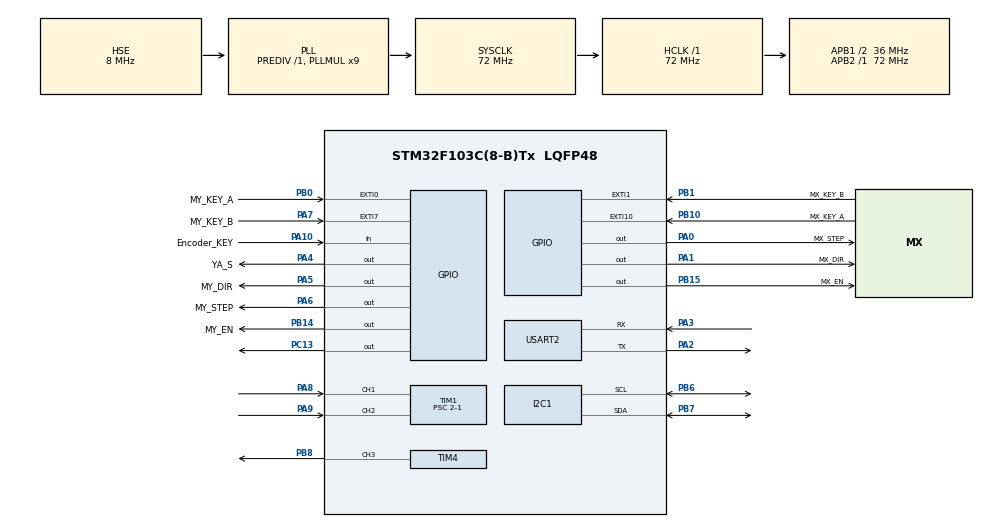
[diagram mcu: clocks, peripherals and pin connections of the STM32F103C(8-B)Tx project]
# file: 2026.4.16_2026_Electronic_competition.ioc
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Mcu.Family=STM32F1
Mcu.Name=STM32F103C(8-B)Tx
Mcu.Package=LQFP48
NVIC.EXTI0_IRQn=true\:0\:0\:false\:false\:true\:true\:true\:true
NVIC.EXTI15_10_IRQn=true\:0\:0\:false\:false\:true\:true\:true\:true
NVIC.EXTI1_IRQn=true\:0\:0\:false\:false\:true\:true\:true\:true
NVIC.EXTI9_5_IRQn=true\:0\:0\:false\:false\:true\:true\:true\:true
NVIC.PriorityGroup=NVIC_PRIORITYGROUP_4
NVIC.TIM2_IRQn=true\:0\:0\:false\:false\:true\:true\:true\:true
NVIC.TIM3_IRQn=true\:0\:0\:false\:false\:true\:true\:true\:true
NVIC.TIM4_IRQn=true\:0\:0\:false\:false\:true\:true\:true\:true
NVIC.USART2_IRQn=true\:0\:0\:false\:false\:true\:true\:true\:true
PA0-WKUP.GPIO_Label=MX_STEP
PA0-WKUP.Signal=GPIO_Output
PA1.GPIO_Label=MX_DIR
PA1.Signal=GPIO_Output
PA10.GPIO_Label=Encoder_KEY
PA10.Signal=GPIO_Input
PA13.Mode=Serial_Wire
PA13.Signal=SYS_JTMS-SWDIO
PA14.Mode=Serial_Wire
PA14.Signal=SYS_JTCK-SWCLK
PA2.Mode=Asynchronous
PA2.Signal=USART2_TX
PA3.Mode=Asynchronous
PA3.Signal=USART2_RX
PA4.GPIO_Label=YA_S
PA4.Signal=GPIO_Output
PA5.GPIO_Label=MY_DIR
PA5.Signal=GPIO_Output
PA6.GPIO_Label=MY_STEP
PA6.Signal=GPIO_Output
PA7.GPIO_Label=MY_KEY_B
PA7.GPIO_ModeDefaultEXTI=GPIO_MODE_IT_FALLING
PA7.GPIO_PuPd=GPIO_PULLUP
PA7.Signal=GPXTI7
PA8.Signal=S_TIM1_CH1
PA9.Signal=S_TIM1_CH2
PB0.GPIO_Label=MY_KEY_A
PB0.GPIO_ModeDefaultEXTI=GPIO_MODE_IT_FALLING
PB0.GPIO_PuPd=GPIO_PULLUP
PB0.Signal=GPXTI0
PB1.GPIO_Label=MX_KEY_B
PB1.GPIO_ModeDefaultEXTI=GPIO_MODE_IT_FALLING
PB1.GPIO_PuPd=GPIO_PULLUP
PB1.Signal=GPXTI1
PB10.GPIO_Label=MX_KEY_A
PB10.GPIO_ModeDefaultEXTI=GPIO_MODE_IT_FALLING
PB10.GPIO_PuPd=GPIO_PULLUP
PB10.Signal=GPXTI10
PB14.GPIO_Label=MY_EN
PB14.Signal=GPIO_Output
PB15.GPIO_Label=MX_EN
PB15.Signal=GPIO_Output
PB6.Mode=I2C
PB6.Signal=I2C1_SCL
PB7.Mode=I2C
PB7.Signal=I2C1_SDA
PB8.Signal=S_TIM4_CH3
PC13-TAMPER-RTC.Signal=GPIO_Output
PD0-OSC_IN.Mode=HSE-External-Oscillator
PD0-OSC_IN.Signal=RCC_OSC_IN
PD1-OSC_OUT.Mode=HSE-External-Oscillator
PD1-OSC_OUT.Signal=RCC_OSC_OUT
ProjectManager.HeapSize=0x200
ProjectManager.StackSize=0x400
ProjectManager.TargetToolchain=CMake
RCC.AHBFreq_Value=72000000
RCC.APB1CLKDivider=RCC_HCLK_DIV2
RCC.APB1Freq_Value=36000000
RCC.APB1TimFreq_Value=72000000
RCC.APB2Freq_Value=72000000
RCC.APB2TimFreq_Value=72000000
RCC.HCLKFreq_Value=72000000
RCC.PLLMUL=RCC_PLL_MUL9
RCC.PLLSourceVirtual=RCC_PLLSOURCE_HSE
RCC.SYSCLKFreq_VALUE=72000000
RCC.SYSCLKSource=RCC_SYSCLKSOURCE_PLLCLK
RCC.USBFreq_Value=72000000
SH.S_TIM1_CH1.0=TIM1_CH1,Encoder_Interface
SH.S_TIM1_CH2.0=TIM1_CH2,Encoder_Interface
SH.S_TIM4_CH3.0=TIM4_CH3,PWM Generation3 CH3
TIM1.Prescaler=2-1
TIM2.TIM_MasterOutputTrigger=TIM_TRGO_UPDATE
TIM2.TIM_MasterSlaveMode=TIM_MASTERSLAVEMODE_ENABLE
TIM3.TIM_MasterOutputTrigger=TIM_TRGO_UPDATE
TIM3.TIM_MasterSlaveMode=TIM_MASTERSLAVEMODE_ENABLE
TIM4.Channel-PWM\ Generation3\ CH3=TIM_CHANNEL_3
USART2.VirtualMode=VM_ASYNC
VP_TIM2_VS_ClockSourceINT.Mode=Internal
VP_TIM3_VS_ClockSourceINT.Mode=Internal
VP_TIM4_VS_ClockSourceINT.Mode=Internal
board=custom

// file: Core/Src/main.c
/* USER CODE BEGIN Header */
/**
  ******************************************************************************
  * @file           : main.c
  * @brief          : Main program body
  ******************************************************************************
  * @attention
  *
  * Copyright (c) 2026 STMicroelectronics.
  * All rights reserved.
  *
  * This software is licensed under terms that can be found in the LICENSE file
  * in the root directory of this software component.
  * If no LICENSE file comes with this software, it is provided AS-IS.
  *
  ******************************************************************************
  */
/* USER CODE END Header */
#include "main.h"
#include "i2c.h"
#include "tim.h"
#include "usart.h"
#include "gpio.h"

/* USER CODE BEGIN Includes */
#include "oled.h"
#include <stdio.h>
#include <stdbool.h>
#include "board_map.h"
/* USER CODE END Includes */

/* USER CODE BEGIN PV */
uint32_t Encoder_i = 0;  // 编码器计数
uint32_t PWM_F = 0;  // PWM频率
bool PWM_E = 1;  // PWM使能 默认为1，不要修改
bool motor_direction = 0;  // 电机方向：0=正转，1=反转
volatile uint8_t direction_toggle_flag = 0;  // 方向切换标志位

volatile bool X_limit_left__flag = 0;  // X轴左限位标志位
volatile bool X_limit_right__flag = 0;  // X轴右限位标志位
volatile bool Y_limit_left__flag = 0;  // Y轴左限位标志位
volatile bool Y_limit_right__flag = 0;  // Y轴右限位标志位

volatile uint32_t X_tim2_tick_count = 0;  // X轴步数值(TIM2中断计数)
volatile uint32_t Y_tim2_tick_count = 0;  // Y轴步数值(TIM2中断计数)
volatile uint32_t X_target_tick_count = 0;  // 目标X轴步数值
volatile uint32_t Y_target_tick_count = 0;  // 目标Y轴步数值
volatile bool X_tim2_count_enable = 0;  // X轴计数使能
volatile bool Y_tim2_count_enable = 0;  // Y轴计数使能

volatile uint32_t X_tim2_tick_count_old = 0;  // X轴步数值最大的旧值
volatile uint32_t Y_tim2_tick_count_old = 0;  // Y轴步数值最大的旧值

bool Motor_action_flag = 0;  // 电机行动标志位
bool Motor_STEP_flag_X = 0;  // X轴电机步进标志位
bool Motor_STEP_flag_Y = 0;  // Y轴电机步进标志位

volatile uint32_t X_left_last_irq_ms = 0;   // X左限位上次中断时间
volatile uint32_t X_right_last_irq_ms = 0;  // X右限位上次中断时间
volatile uint32_t Y_left_last_irq_ms = 0;   // Y左限位上次中断时间
volatile uint32_t Y_right_last_irq_ms = 0;  // Y右限位上次中断时间

#define LIMIT_DEBOUNCE_MS 20U  // 限位开关软件消抖时间

#define X_tim2_tick_count_max 6452  // X轴计数最大值
#define Y_tim2_tick_count_max 9931  // Y轴计数最大值

#define SERVO_PULSE_MIN_US 500U    // 舵机最小控制脉宽(0.5ms, 对应最小角度端)
#define SERVO_PULSE_MAX_US 2500U   // 舵机最大控制脉宽(2.5ms, 对应最大角度端)
#define SERVO_PULSE_INIT_US 1500U  // 舵机上电初始脉宽(1.5ms, 通常对应中位角度)
#define SERVO_PICK_PLACE_ANGLE_DEG 172U  // 自动下棋时取放棋子的下探角度
volatile int16_t Servo_angle_deg = 90;  // 舵机角度(0~180度)，用于显示

#define K230_CENTER_X 134  // K230坐标系中心棋格X坐标
#define K230_CENTER_Y 76   // K230坐标系中心棋格Y坐标
#define K230_GRID_DELTA 25 // K230坐标系相邻棋格坐标差
#define STEP_GRID_DELTA 1130 // 我方步进坐标系相邻棋格步数差
#define TASK3_X_MIN_STEP 1362 // 题目三允许的最小X步进坐标
#define TASK3_X_MAX_STEP 6122 // 题目三允许的最大X步进坐标
#define TASK3_Y_MIN_STEP 2751 // 题目三允许的最小Y步进坐标
#define TASK3_Y_MAX_STEP 9299 // 题目三允许的最大Y步进坐标

bool X_Motor_direction = 0;  // X轴电机方向：0=正转，1=反转
bool Y_Motor_direction = 0;  // Y轴电机方向：0=正转，1=反转

volatile uint8_t MODS = 0;  // 模式 0调整模式 1X轴设置 2Y轴设置 3舵机调节 4自动下棋
volatile uint8_t MODS_old = 0;  // 模式旧值
#define MODS_MAX 4 // 模式最大值，循环使用

uint8_t rx_buf[1];
char uart_rx_buffer[64];
uint8_t uart_rx_idx = 0;
volatile uint8_t uart_task = 0;
volatile uint8_t uart_coord1 = 0;
volatile uint8_t uart_coord2 = 0;
volatile int16_t uart_cam_x = 0;
volatile int16_t uart_cam_y = 0;
volatile bool uart_data_ready = 0;

/* USER CODE END PV */

void SystemClock_Config(void);

/* USER CODE BEGIN PFP */
void X_Motor_test_while(void);// X轴, Y轴电机测试循环
void Motor_Direction(void);  // 根据限位标志位切换电机方向
void Servo_Control(void);// 舵机控制函数(编码器 -> TIM4_CH3 PWM占空比)
void Motor_MoveToStep(int motor_id,uint32_t step);//电机步数控制
void Mode1_X_ByEncoder(void);// 模式1: 编码器控制X轴步进
void Mode2_Y_ByEncoder(void);// 模式2: 编码器控制Y轴步进
void Mode3_ServoToggleAndBack(void);// 模式3: 编码器直接控制舵机
void Mode4_AutoChess(void); // 模式4: 串口接收任务自动下棋
void CameraCoord_ToStep(int16_t cam_x, int16_t cam_y, int32_t *x_step, int32_t *y_step); // K230坐标转步进坐标
//void ToggleMotorDirection(void);// 切换电机方向
/* USER CODE END PFP */

/* USER CODE BEGIN 0 */

//OLED显示
void oled_while(void)
{
  //Encoder_i = __HAL_TIM_GET_COUNTER(&htim1);  // 读取编码器计数

  char buffer[20];
  char buffer_2[20];
  char buffer_3[20];
  char buffer_4[20];
  char buffer_5[20];
  //char buffer_6[20];

  if(MODS == 0) //调整模式
  {
    Servo_Control();  // 编码器控制舵机
    snprintf(buffer, sizeof(buffer), "Xcount:%lu", X_tim2_tick_count);
    snprintf(buffer_2, sizeof(buffer_2), "Ycount:%lu", Y_tim2_tick_count);
    snprintf(buffer_3, sizeof(buffer_3), "servo:%d deg", (int)Servo_angle_deg);
    snprintf(buffer_4, sizeof(buffer_4), "X_MAX:%lu",X_tim2_tick_count_old);
    snprintf(buffer_5, sizeof(buffer_5), "Y_MAX:%lu",Y_tim2_tick_count_old);

    OLED_NewFrame();
    OLED_PrintASCIIString(1,1,buffer,&afont8x6, OLED_COLOR_NORMAL);
    OLED_PrintASCIIString(1,11,buffer_2,&afont8x6, OLED_COLOR_NORMAL);
    OLED_PrintASCIIString(1,21,buffer_3,&afont8x6, OLED_COLOR_NORMAL);
    OLED_PrintASCIIString(1,31,buffer_4,&afont8x6, OLED_COLOR_NORMAL);
    OLED_PrintASCIIString(1,41,buffer_5,&afont8x6, OLED_COLOR_NORMAL);
  }
  else if(MODS == 1 || MODS == 2 || MODS == 4)
  {
    snprintf(buffer, sizeof(buffer), "Xcount:%lu", X_tim2_tick_count);
    snprintf(buffer_2, sizeof(buffer_2), "Ycount:%lu",Y_tim2_tick_count);

    OLED_NewFrame();
    OLED_PrintASCIIString(1,1,buffer,&afont8x6, OLED_COLOR_NORMAL);
    OLED_PrintASCIIString(1,11,buffer_2,&afont8x6, OLED_COLOR_NORMAL);
  }
  else if(MODS == 3)
  {
    snprintf(buffer, sizeof(buffer), "servo:%d deg", (int)Servo_angle_deg);

    OLED_NewFrame();
    OLED_PrintASCIIString(1,1,buffer,&afont8x6, OLED_COLOR_NORMAL);
  }
  snprintf(buffer_4, sizeof(buffer_4), "MODS:%d", MODS);
  OLED_PrintASCIIString(1,55,buffer_4,&afont8x6, OLED_COLOR_NORMAL);
  OLED_ShowFrame();

  //HAL_Delay(25);
}

// GPIO外部部中断
void HAL_GPIO_EXTI_Callback(uint16_t GPIO_Pin)
{
  uint32_t now_ms = HAL_GetTick();

	if(GPIO_Pin == MX_KEY_A_Pin)  // X轴左限位: PB10
  {
    if ((now_ms - X_left_last_irq_ms) < LIMIT_DEBOUNCE_MS) return;
    X_left_last_irq_ms = now_ms;

    X_limit_left__flag = 1;// 设置X轴左限位触碰标志位

    if(MODS == 0) X_tim2_tick_count = 0;  //调整模式 X左限位触发后清零计数
    if(MODS == 1) X_tim2_tick_count = 0;  // X左限位触发后清零计数
  }
  else if(GPIO_Pin == MX_KEY_B_Pin)  // X轴右限位: PB1
  {
    if ((now_ms - X_right_last_irq_ms) < LIMIT_DEBOUNCE_MS) return;
    X_right_last_irq_ms = now_ms;

    X_limit_right__flag = 1;// 设置X轴右限位触碰标志位

    if(MODS == 0)
    {
      X_tim2_tick_count_old = X_tim2_tick_count;// 保存旧值
      //X_tim2_count_enable = 1;  // X右限位触发后开始计数
    }
    //if(MODS == 1) X_tim2_tick_count = X_tim2_tick_count_max;  // X右限位触发后最大计数
  }

  else if(GPIO_Pin == MY_KEY_A_Pin)  // Y轴左限位: PB0
  {
    if ((now_ms - Y_left_last_irq_ms) < LIMIT_DEBOUNCE_MS) return;
    Y_left_last_irq_ms = now_ms;

    Y_limit_left__flag = 1;// 设置Y轴左限位触碰标志位

    if(MODS == 0) Y_tim2_tick_count = 0;  // Y左限位触发后清零计数
    if(MODS == 1) Y_tim2_tick_count = 0;  // Y左限位触发后清零计数
  }
  else if(GPIO_Pin == MY_KEY_B_Pin)  // Y轴右限位: PA7
  {
    if ((now_ms - Y_right_last_irq_ms) < LIMIT_DEBOUNCE_MS) return;
    Y_right_last_irq_ms = now_ms;

    Y_limit_right__flag = 1;// 设置Y轴右限位触碰标志位

    if(MODS == 0)
    {
      Y_tim2_tick_count_old = Y_tim2_tick_count;// 保存旧值
      //Y_tim2_count_enable = 1;  // Y右限位触发后开始计数
    }
    //if(MODS == 1) Y_tim2_tick_count = Y_tim2_tick_count_max;  // Y右限位触发后最大计数
  }
  if(MODS == 0)
  {
    X_Motor_test_while();// X轴, Y轴电机测试循环
    Motor_Direction();  // 根据限位标志位切换电机方向
  }
  else if(MODS == 1)
  {

  }
}

// 根据全局变量切换电机方向
void Motor_Direction(void)
{
  if(X_Motor_direction == 0)
  {
    HAL_GPIO_WritePin(MX_DIR_GPIO_Port, MX_DIR_Pin, GPIO_PIN_SET);
  }
  else
  {
    HAL_GPIO_WritePin(MX_DIR_GPIO_Port, MX_DIR_Pin, GPIO_PIN_RESET);
  }

  if(Y_Motor_direction == 0)
  {
    HAL_GPIO_WritePin(MY_DIR_GPIO_Port, MY_DIR_Pin, GPIO_PIN_RESET);
  }
  else
  {
    HAL_GPIO_WritePin(MY_DIR_GPIO_Port, MY_DIR_Pin, GPIO_PIN_SET);
  }
}

// 电机初始化
void Motor_init(void)
{
  HAL_GPIO_WritePin(MX_EN_GPIO_Port, MX_EN_Pin, GPIO_PIN_RESET);  // X轴电机
  HAL_GPIO_WritePin(MY_EN_GPIO_Port, MY_EN_Pin, GPIO_PIN_RESET);  // Y轴电机

  X_Motor_direction = 1;// X轴电机方向：0=正转，1=反转
  Y_Motor_direction = 1;// Y轴电机方向：0=正转，1=反转
}

//定时器中断回调函数
void HAL_TIM_PeriodElapsedCallback(TIM_HandleTypeDef *htim)
{
  if(MODS == 0)//调整模式
  {
      if (htim->Instance == TIM2)
    {
      if (X_Motor_direction == 0)// 正方向计数增加，反方向计数减少
      {
        X_tim2_tick_count++;
      }
      else
      {
        if (X_tim2_tick_count > 0) X_tim2_tick_count--;
      }
      if (Y_Motor_direction == 0)// 正方向计数增加，反方向计数减少
      {
        Y_tim2_tick_count++;
      }
      else
      {
        if (Y_tim2_tick_count > 0) Y_tim2_tick_count--;
      }
      HAL_GPIO_WritePin(GPIOA, MX_STEP_Pin | MY_STEP_Pin, GPIO_PIN_SET);
      __HAL_TIM_SET_COUNTER(&htim3, 0);
      HAL_TIM_Base_Start_IT(&htim3);
    }
    else if (htim->Instance == TIM3)
    {
      HAL_GPIO_WritePin(GPIOA, MX_STEP_Pin | MY_STEP_Pin, GPIO_PIN_RESET);
      HAL_TIM_Base_Stop_IT(&htim3);
    }
  }
  else if(MODS == 1)//X轴设置
  {
     if (htim->Instance == TIM2)
    {
      if(X_target_tick_count == X_tim2_tick_count) Motor_STEP_flag_X = 0;
      else Motor_STEP_flag_X = 1;

      Motor_STEP_flag_Y = 0;  // 模式1仅控制X轴

      if(Motor_STEP_flag_X == 1)
      {
        Motor_Direction();
        HAL_GPIO_WritePin(GPIOA, MX_STEP_Pin, GPIO_PIN_SET);
        __HAL_TIM_SET_COUNTER(&htim3, 0);
        HAL_TIM_Base_Start_IT(&htim3);
      }
    }
    else if (htim->Instance == TIM3)
    {
      if(Motor_STEP_flag_X == 1)
      {
        HAL_GPIO_WritePin(GPIOA, MX_STEP_Pin, GPIO_PIN_RESET);
        Motor_STEP_flag_X = 0;
        if(X_Motor_direction == 0) X_tim2_tick_count++;
        else if (X_tim2_tick_count > 0U) X_tim2_tick_count--;
      }
      HAL_TIM_Base_Stop_IT(&htim3);
    }
  }
  else if(MODS == 2)//Y轴设置
  {
     if (htim->Instance == TIM2)
    {
      Motor_STEP_flag_X = 0;  // 模式2仅控制Y轴

      if(Y_target_tick_count == Y_tim2_tick_count) Motor_STEP_flag_Y = 0;
      else Motor_STEP_flag_Y = 1;

      if(Motor_STEP_flag_Y == 1)
      {
        Motor_Direction();
        HAL_GPIO_WritePin(GPIOA, MY_STEP_Pin, GPIO_PIN_SET);
        __HAL_TIM_SET_COUNTER(&htim3, 0);
        HAL_TIM_Base_Start_IT(&htim3);
      }
    }
    else if (htim->Instance == TIM3)
    {
      if(Motor_STEP_flag_Y == 1)
      {
        HAL_GPIO_WritePin(GPIOA, MY_STEP_Pin, GPIO_PIN_RESET);
        Motor_STEP_flag_Y = 0;
        if(Y_Motor_direction == 0) Y_tim2_tick_count++;
        else if (Y_tim2_tick_count > 0U) Y_tim2_tick_count--;
      }
      HAL_TIM_Base_Stop_IT(&htim3);
    }
  }
  else if(MODS == 4)//自动下棋模式
  {
     if (htim->Instance == TIM2)
    {
      if(X_target_tick_count == X_tim2_tick_count) Motor_STEP_flag_X = 0;
      else Motor_STEP_flag_X = 1;

      if(Y_target_tick_count == Y_tim2_tick_count) Motor_STEP_flag_Y = 0;
      else Motor_STEP_flag_Y = 1;

      if(Motor_STEP_flag_X == 1 || Motor_STEP_flag_Y == 1)
      {
        Motor_Direction();
        uint16_t pin_set = 0;
        if(Motor_STEP_flag_X == 1) pin_set |= MX_STEP_Pin;
        if(Motor_STEP_flag_Y == 1) pin_set |= MY_STEP_Pin;
        HAL_GPIO_WritePin(GPIOA, pin_set, GPIO_PIN_SET);
        __HAL_TIM_SET_COUNTER(&htim3, 0);
        HAL_TIM_Base_Start_IT(&htim3);
      }
    }
    else if (htim->Instance == TIM3)
    {
      uint16_t pin_reset = 0;
      if(Motor_STEP_flag_X == 1)
      {
        pin_reset |= MX_STEP_Pin;
        Motor_STEP_flag_X = 0;
        if(X_Motor_direction == 0) X_tim2_tick_count++;
        else if (X_tim2_tick_count > 0U) X_tim2_tick_count--;
      }
      if(Motor_STEP_flag_Y == 1)
      {
        pin_reset |= MY_STEP_Pin;
        Motor_STEP_flag_Y = 0;
        if(Y_Motor_direction == 0) Y_tim2_tick_count++;
        else if (Y_tim2_tick_count > 0U) Y_tim2_tick_count--;
      }
      if(pin_reset != 0) {
        HAL_GPIO_WritePin(GPIOA, pin_reset, GPIO_PIN_RESET);
      }
      HAL_TIM_Base_Stop_IT(&htim3);
    }
  }
}

// X轴, Y轴电机测试循环
void X_Motor_test_while(void)
{
  if(X_limit_right__flag)
  {
    X_Motor_direction = 1;  // 反转
    X_limit_right__flag = 0;  // 清除标志位
  }
  else if(X_limit_left__flag)
  {
    X_Motor_direction = 0;  // 正转
    X_limit_left__flag = 0;  // 清除标志位
  }
  if(Y_limit_right__flag)
  {
    Y_Motor_direction = 1;  // 反转
    Y_limit_right__flag = 0;  // 清除标志位
  }
  else if(Y_limit_left__flag)
  {
    Y_Motor_direction = 0;  // 正转
    Y_limit_left__flag = 0;  // 清除标志位
  }

}

// 舵机控制函数(编码器 -> TIM4_CH3 PWM占空比)
void Servo_Control(void)
{
  // 1) 读取 TIM1 编码器计数器当前值
  // 2) 计算相对上次采样的增量 delta，按增量调节舵机脉宽
  // 3) 将脉宽限制在 SERVO_PULSE_MIN_US ~ SERVO_PULSE_MAX_US，避免越界卡死
  // 4) 通过 TIM4_CH3 的 CCR 写入新的脉宽(单位: us，基于1MHz计数时钟)
  // 说明:
  // - 首次调用仅完成初始化并输出 SERVO_PULSE_INIT_US，不做增量运算
  // - 当前比例为每个编码器计数步进 5us，可按手感调整灵敏度
  static uint8_t inited = 0;  // 首次调用初始化标志
  static int16_t last_raw = 0;  // 上次编码器原始计数值
  static int32_t servo_pulse_us = SERVO_PULSE_INIT_US;  // 当前舵机目标脉宽(us)
  int16_t raw = (int16_t)__HAL_TIM_GET_COUNTER(&htim1);  // 当前编码器原始计数值

  if (!inited)
  {
    inited = 1;
    last_raw = raw;
    // 首次进入时将舵机打到初始中位
    __HAL_TIM_SET_COMPARE(&htim4, TIM_CHANNEL_3, (uint32_t)servo_pulse_us);
    Servo_angle_deg = (int16_t)(((servo_pulse_us - (int32_t)SERVO_PULSE_MIN_US) * 180) /
                                ((int32_t)SERVO_PULSE_MAX_US - (int32_t)SERVO_PULSE_MIN_US));
    return;
  }

  int16_t delta = (int16_t)(raw - last_raw);  // 本次相对上次的编码器增量
  if (delta != 0)
  {
    // 每个编码器计数步进 5us，平滑控制舵机角度
    servo_pulse_us += (int32_t)delta * 5;
    if (servo_pulse_us < (int32_t)SERVO_PULSE_MIN_US) servo_pulse_us = SERVO_PULSE_MIN_US;
    if (servo_pulse_us > (int32_t)SERVO_PULSE_MAX_US) servo_pulse_us = SERVO_PULSE_MAX_US;
    __HAL_TIM_SET_COMPARE(&htim4, TIM_CHANNEL_3, (uint32_t)servo_pulse_us);
    Servo_angle_deg = (int16_t)(((servo_pulse_us - (int32_t)SERVO_PULSE_MIN_US) * 180) /
                                ((int32_t)SERVO_PULSE_MAX_US - (int32_t)SERVO_PULSE_MIN_US));
  }
  last_raw = raw;
}

// 按键控制
void Key_while(void)
{
  if(HAL_GPIO_ReadPin(Encoder_KEY_GPIO_Port, Encoder_KEY_Pin) == GPIO_PIN_RESET)
  {
    HAL_Delay(100);  // 简单消抖
    if(HAL_GPIO_ReadPin(Encoder_KEY_GPIO_Port, Encoder_KEY_Pin) == GPIO_PIN_RESET)
    {
      MODS_old = MODS;  // 记录旧值
      MODS++;  // 切换到调整模式
      if(MODS > MODS_MAX) MODS = 1;  // 模式循环
    }
  }
}

//电机步数控制
void Motor_MoveToStep(int motor_id,uint32_t step)
{
  if(motor_id == 1)
  {
    X_target_tick_count = step;
    if(step > X_tim2_tick_count) X_Motor_direction = 0;
    else X_Motor_direction = 1;
  }
  else if(motor_id == 2)
  {
    Y_target_tick_count = step;
    if(step > Y_tim2_tick_count) Y_Motor_direction = 0;
    else Y_Motor_direction = 1;
  }
}

// 模式1: 读取编码器增量并映射到X轴目标步数(左端0, 右端X_tim2_tick_count_max)
void Mode1_X_ByEncoder(void)
{
  static uint8_t inited = 0;
  static int16_t last_raw = 0;
  int16_t raw;
  int16_t delta;
  int32_t target;

  if (MODS != 1U)
  {
    inited = 0;
    return;
  }

  raw = (int16_t)__HAL_TIM_GET_COUNTER(&htim1);
  if (!inited)
  {
    inited = 1;
    last_raw = raw;
    X_target_tick_count = X_tim2_tick_count;
    return;
  }

  delta = (int16_t)(raw - last_raw);
  if (delta != 0)
  {
    // 灵敏度放大30倍，并且基于"当前位置"计算目标，避免在0点附近出现反向失效
    target = (int32_t)X_tim2_tick_count + (int32_t)delta * 30;
    if (target < 0) target = 0;
    if (target > (int32_t)X_tim2_tick_count_max) target = X_tim2_tick_count_max;
    X_target_tick_count = (uint32_t)target;
    Motor_MoveToStep(1, X_target_tick_count);
  }
  last_raw = raw;
}

// 模式2: 读取编码器增量并映射到Y轴目标步数(左端0, 右端Y_tim2_tick_count_max)
void Mode2_Y_ByEncoder(void)
{
  static uint8_t inited = 0;
  static int16_t last_raw = 0;
  int16_t raw;
  int16_t delta;
  int32_t target;

  if (MODS != 2U)
  {
    inited = 0;
    return;
  }

  raw = (int16_t)__HAL_TIM_GET_COUNTER(&htim1);
  if (!inited)
  {
    inited = 1;
    last_raw = raw;
    Y_target_tick_count = Y_tim2_tick_count;
    return;
  }

  delta = (int16_t)(raw - last_raw);
  if (delta != 0)
  {
    // 与模式1一致：灵敏度放大30倍，并基于当前位置计算目标
    target = (int32_t)Y_tim2_tick_count + (int32_t)delta * 30;
    if (target < 0) target = 0;
    if (target > (int32_t)Y_tim2_tick_count_max) target = Y_tim2_tick_count_max;
    Y_target_tick_count = (uint32_t)target;
    Motor_MoveToStep(2, Y_target_tick_count);
  }
  last_raw = raw;
}

// 模式3: 编码器直接控制舵机，两个步进电机不运动，也不自动切换模式
void Mode3_ServoToggleAndBack(void)
{
  static uint8_t mode3_inited = 0;

  if (MODS != 3U)
  {
    mode3_inited = 0;
    return;
  }

  if (!mode3_inited)
  {
    __HAL_TIM_SET_COUNTER(&htim1, 0);
    mode3_inited = 1;
  }

  Servo_Control();
}

// K230坐标转步进坐标:
// - K230坐标(135,63)对应中间棋盘中心格，即 board_x_step[2], board_y_step[2]
// - K230坐标系假定: 向上为Y正方向，向左为X正方向
// - 我方步进坐标系: 向上为X正方向，向右为Y正方向
void CameraCoord_ToStep(int16_t cam_x, int16_t cam_y, int32_t *x_step, int32_t *y_step)
{
  int32_t delta_cam_x = (int32_t)cam_x - K230_CENTER_X;
  int32_t delta_cam_y = (int32_t)cam_y - K230_CENTER_Y;

  if (x_step != NULL)
  {
    *x_step = board_x_step[2] + (delta_cam_y * STEP_GRID_DELTA) / K230_GRID_DELTA;
  }

  if (y_step != NULL)
  {
    *y_step = board_y_step[2] - (delta_cam_x * STEP_GRID_DELTA) / K230_GRID_DELTA;
  }
}

// 模式4: 自动下棋模式
void Mode4_AutoChess(void)
{
  static uint8_t state = 0;
  static uint32_t wait_ms = 0;
  static int32_t place_target_x = 0;
  static int32_t place_target_y = 0;
  uint32_t pulse_us;

  if(MODS != 4U) {
    state = 0;
    return;
  }

  switch(state) {
    case 0: // Wait for valid task
      if(uart_data_ready) {
        uart_data_ready = 0;
        int32_t target_x = 0, target_y = 0;
        uint8_t command_valid = 0;
        place_target_x = 0;
        place_target_y = 0;

        // 题目1/2/4/5: 从1~19的棋格拿起，再放到1~19的棋格
        if((uart_task == 1U || uart_task == 2U || uart_task == 4U || uart_task == 5U) &&
           uart_coord1 >= 1U && uart_coord1 <= 19U) {
          BoardMap_GetCellStep(uart_coord1 - 1, &target_x, &target_y);
          if(uart_coord2 >= 1U && uart_coord2 <= 19U) {
            BoardMap_GetCellStep(uart_coord2 - 1, &place_target_x, &place_target_y);
            command_valid = 1;
          }
        }
        // 题目3: 从待命区1~10拿子，放到K230给出的坐标
        else if(uart_task == 3U && uart_coord1 >= 1U && uart_coord1 <= 10U) {
          BoardMap_GetCellStep(uart_coord1 - 1, &target_x, &target_y);
          CameraCoord_ToStep(uart_cam_x, uart_cam_y, &place_target_x, &place_target_y);
          if(place_target_x >= TASK3_X_MIN_STEP && place_target_x <= TASK3_X_MAX_STEP &&
             place_target_y >= TASK3_Y_MIN_STEP && place_target_y <= TASK3_Y_MAX_STEP) {
            command_valid = 1;
          }
        }
        if(command_valid) {
          Motor_MoveToStep(1, (uint32_t)target_x);
          Motor_MoveToStep(2, (uint32_t)target_y);
          state = 1;
        }
      }
      break;

    case 1: // Wait for motors to reach coord1
      if(X_tim2_tick_count == X_target_tick_count && Y_tim2_tick_count == Y_target_tick_count) {
        // 到达取子位置: 舵机下压到取放棋角度
        pulse_us = (uint32_t)SERVO_PULSE_MIN_US +
                   (SERVO_PICK_PLACE_ANGLE_DEG * ((uint32_t)SERVO_PULSE_MAX_US - (uint32_t)SERVO_PULSE_MIN_US)) / 180U;
        __HAL_TIM_SET_COMPARE(&htim4, TIM_CHANNEL_3, pulse_us);
        Servo_angle_deg = SERVO_PICK_PLACE_ANGLE_DEG;
        wait_ms = HAL_GetTick();
        state = 2;
      }
      break;

    case 2: // Wait for servo down at coord1
      if((HAL_GetTick() - wait_ms) >= 1200U) {
        // 取子: 电磁铁吸附，然后舵机抬回90度
        HAL_GPIO_WritePin(YA_S_GPIO_Port, YA_S_Pin, GPIO_PIN_SET);
        pulse_us = (uint32_t)SERVO_PULSE_MIN_US +
                   (90U * ((uint32_t)SERVO_PULSE_MAX_US - (uint32_t)SERVO_PULSE_MIN_US)) / 180U;
        __HAL_TIM_SET_COMPARE(&htim4, TIM_CHANNEL_3, pulse_us);
        Servo_angle_deg = 90;
        wait_ms = HAL_GetTick();
        state = 3;
      }
      break;

    case 3: // Wait for servo up after pickup, then move to coord2
      if((HAL_GetTick() - wait_ms) >= 1200U) {
        Motor_MoveToStep(1, (uint32_t)place_target_x);
        Motor_MoveToStep(2, (uint32_t)place_target_y);
        state = 4;
      }
      break;

    case 4: // Wait for motors to reach coord2
      if(X_tim2_tick_count == X_target_tick_count && Y_tim2_tick_count == Y_target_tick_count) {
        // 到达放子位置: 舵机下压到取放棋角度
        pulse_us = (uint32_t)SERVO_PULSE_MIN_US +
                   (SERVO_PICK_PLACE_ANGLE_DEG * ((uint32_t)SERVO_PULSE_MAX_US - (uint32_t)SERVO_PULSE_MIN_US)) / 180U;
        __HAL_TIM_SET_COMPARE(&htim4, TIM_CHANNEL_3, pulse_us);
        Servo_angle_deg = SERVO_PICK_PLACE_ANGLE_DEG;
        wait_ms = HAL_GetTick();
        state = 5;
      }
      break;

    case 5: // Wait for servo down at coord2
      if((HAL_GetTick() - wait_ms) >= 1200U) {
        // 放子: 电磁铁断电，然后舵机抬回90度
        HAL_GPIO_WritePin(YA_S_GPIO_Port, YA_S_Pin, GPIO_PIN_RESET);
        pulse_us = (uint32_t)SERVO_PULSE_MIN_US +
                   (90U * ((uint32_t)SERVO_PULSE_MAX_US - (uint32_t)SERVO_PULSE_MIN_US)) / 180U;
        __HAL_TIM_SET_COMPARE(&htim4, TIM_CHANNEL_3, pulse_us);
        Servo_angle_deg = 90;
        wait_ms = HAL_GetTick();
        state = 6;
      }
      break;

    case 6: // Wait for servo up, then move motors away from camera
      if((HAL_GetTick() - wait_ms) >= 1200U) {
        if(uart_task == 1U || uart_task == 2U || uart_task == 3U || uart_task == 4U || uart_task == 5U) {
          Motor_MoveToStep(1, 300U);
          Motor_MoveToStep(2, 300U);
          state = 7;
        }
        else {
          state = 0;
          MODS = 1U; // Return to mode 1
        }
      }
      break;

    case 7: // Wait for motors to move to camera-clear position
      if(X_tim2_tick_count == X_target_tick_count && Y_tim2_tick_count == Y_target_tick_count) {
        state = 0;
        MODS = 1U; // Return to mode 1
        HAL_UART_Transmit_IT(&huart2, (uint8_t *)"OK", sizeof("OK"));
      }
      break;
  }
}

// 串口接收完成回调
void HAL_UART_RxCpltCallback(UART_HandleTypeDef *huart)
{
  if(huart->Instance == USART2)
  {
    if(rx_buf[0] == '(') {
      uart_rx_idx = 0;
      uart_rx_buffer[uart_rx_idx++] = rx_buf[0];
    }
    else if(uart_rx_idx > 0 && uart_rx_idx < sizeof(uart_rx_buffer) - 1) {
      uart_rx_buffer[uart_rx_idx++] = rx_buf[0];
      if(rx_buf[0] == ')') {
        uart_rx_buffer[uart_rx_idx] = '\0';
        int t, c1, c2, c3;
        if(sscanf(uart_rx_buffer, "(%d,%d,%d,%d)", &t, &c1, &c2, &c3) == 4) {
          uart_task = (uint8_t)t;
          uart_coord1 = (uint8_t)c1;
          uart_cam_x = (int16_t)c2;
          uart_cam_y = (int16_t)c3;
          uart_data_ready = 1;
          if(t == 3) {
            MODS = 4U; // 收到题目3指令后切入模式4
          }
        }
        else if(sscanf(uart_rx_buffer, "(%d,%d,%d)", &t, &c1, &c2) == 3) {
          uart_task = (uint8_t)t;
          uart_coord1 = (uint8_t)c1;
          uart_coord2 = (uint8_t)c2;
          uart_data_ready = 1;
          if(t == 1 || t == 2 || t == 4 || t == 5) {
            MODS = 4U; // 收到指令后切入模式4
          }
        }
        uart_rx_idx = 0;
      }
    }
    HAL_UART_Receive_IT(&huart2, rx_buf, 1);
  }
}
/* USER CODE END 0 */

int main(void)
{

  /* MCU Configuration--------------------------------------------------------*/

  /* Reset of all peripherals, Initializes the Flash interface and the Systick. */
  HAL_Init();

  /* Configure the system clock */
  SystemClock_Config();

  /* Initialize all configured peripherals */
  MX_GPIO_Init();
  MX_I2C1_Init();
  MX_TIM1_Init();
  MX_TIM2_Init();
  MX_TIM3_Init();
  MX_USART2_UART_Init();
  MX_TIM4_Init();
  /* USER CODE BEGIN 2 */

  /* 覆写TIM2/TIM3/TIM4参数，避免CubeMX重生成后时序丢失 */
  __HAL_TIM_SET_PRESCALER(&htim2, 71);
  __HAL_TIM_SET_AUTORELOAD(&htim2, 599);
  __HAL_TIM_SET_COUNTER(&htim2, 0);

  __HAL_TIM_SET_PRESCALER(&htim3, 71);
  __HAL_TIM_SET_AUTORELOAD(&htim3, 19);
  __HAL_TIM_SET_COUNTER(&htim3, 0);

  /* TIM4 设为 50Hz (1MHz计数时钟下 ARR=20000-1) */
  __HAL_TIM_SET_PRESCALER(&htim4, 71);
  __HAL_TIM_SET_AUTORELOAD(&htim4, 19999);
  __HAL_TIM_SET_COUNTER(&htim4, 0);

  HAL_TIM_Encoder_Start(&htim1,TIM_CHANNEL_ALL);  // 启动编码器
  HAL_TIM_Base_Start_IT(&htim2);  // TIM2: 步进调度时基中断
  HAL_TIM_PWM_Start(&htim4,TIM_CHANNEL_3);  // 启动PWM输出
  HAL_UART_Receive_IT(&huart2, rx_buf, 1);  // 启动UART接收中断

  Motor_init();  // 电机初始化
  Motor_Direction(); // 电机方向初始化
  OLED_Init();  // OLED初始化
  /* USER CODE END 2 */

  /* Infinite loop */
  while (1)
  {

    /* USER CODE BEGIN 3 */

    Mode1_X_ByEncoder();  // 模式1: 编码器控制X轴步进
    Mode2_Y_ByEncoder();  // 模式2: 编码器控制Y轴步进
    Mode3_ServoToggleAndBack();  // 模式3: 编码器直接控制舵机
    Mode4_AutoChess();  // 模式4: 串口接收任务自动下棋
    oled_while();  // OLED显示
    Key_while();   // 按键控制
    //Motor_Direction();// 根据全局变量切换电机方向
    //X_Motor_test_while();// X轴, Y轴电机测试循环
  }
  /* USER CODE END 3 */
}

void SystemClock_Config(void)
{
  RCC_OscInitTypeDef RCC_OscInitStruct = {0};
  RCC_ClkInitTypeDef RCC_ClkInitStruct = {0};

  /** Initializes the RCC Oscillators according to the specified parameters
  * in the RCC_OscInitTypeDef structure.
  */
  RCC_OscInitStruct.OscillatorType = RCC_OSCILLATORTYPE_HSE;
  RCC_OscInitStruct.HSEState = RCC_HSE_ON;
  RCC_OscInitStruct.HSEPredivValue = RCC_HSE_PREDIV_DIV1;
  RCC_OscInitStruct.HSIState = RCC_HSI_ON;
  RCC_OscInitStruct.PLL.PLLState = RCC_PLL_ON;
  RCC_OscInitStruct.PLL.PLLSource = RCC_PLLSOURCE_HSE;
  RCC_OscInitStruct.PLL.PLLMUL = RCC_PLL_MUL9;
  if (HAL_RCC_OscConfig(&RCC_OscInitStruct) != HAL_OK)
  {
    Error_Handler();
  }

  /** Initializes the CPU, AHB and APB buses clocks
  */
  RCC_ClkInitStruct.ClockType = RCC_CLOCKTYPE_HCLK|RCC_CLOCKTYPE_SYSCLK
                              |RCC_CLOCKTYPE_PCLK1|RCC_CLOCKTYPE_PCLK2;
  RCC_ClkInitStruct.SYSCLKSource = RCC_SYSCLKSOURCE_PLLCLK;
  RCC_ClkInitStruct.AHBCLKDivider = RCC_SYSCLK_DIV1;
  RCC_ClkInitStruct.APB1CLKDivider = RCC_HCLK_DIV2;
  RCC_ClkInitStruct.APB2CLKDivider = RCC_HCLK_DIV1;

  if (HAL_RCC_ClockConfig(&RCC_ClkInitStruct, FLASH_LATENCY_2) != HAL_OK)
  {
    Error_Handler();
  }
}

void Error_Handler(void)
{
  __disable_irq();
  while (1)
  {
  }
}
